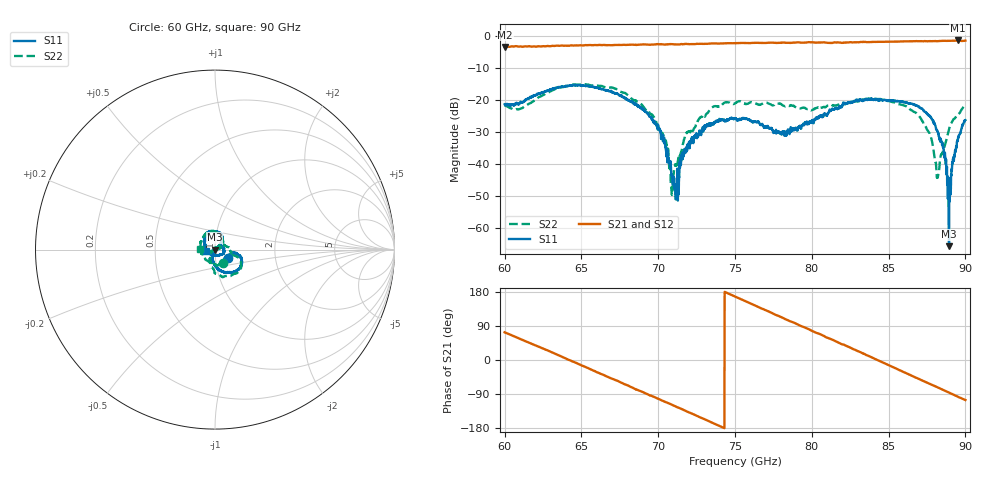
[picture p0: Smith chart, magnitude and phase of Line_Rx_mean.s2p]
!Keysight Technologies,N5242A,MY56023178,A.10.60.03
!Date: Tuesday, August 25, 2020 09:26:59
!Correction: S11(Full 2 Port(1,2))
!S21(Full 2 Port(1,2))
!S12(Full 2 Port(1,2))
!S22(Full 2 Port(1,2))
!S2P File: Measurements: S11, S21, S12, S22:
# Hz S  dB  R 50
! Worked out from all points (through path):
!   2001 points, 60 GHz to 90 GHz, reference 50 ohm
!   highest |S21| = -1.27 dB at 89.49 GHz (marker M1); lowest = -3.3 dB at 60.03 GHz (marker M2)
!   lowest |S11| = -65.5 dB at 88.94 GHz (marker M3), VSWR 1.00, Z = 50 + j0.043 ohm
!   |S11| at or under -10 dB: start of sweep to end of sweep
!   |S22| runs from -49.5 to -14.9 dB; largest |S21 - S12| = 0.041
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6e10  -21.21 -33.8  -3.28 73.1  -3.26 71.8  -21.54 -59.8
6.003e10  -21.37 -33.5  -3.28 72.5  -3.25 71.6  -21.58 -59.3
6.501e10  -15.46 -39.9  -2.81 -14.3  -2.84 -14.7  -15.04 -43.8
6.7875e10  -19.34 -82.0  -2.66 -64.7  -2.71 -65.5  -17.79 -91.3
7.0005e10  -28.16 -110.6  -2.46 -102.4  -2.57 -103.7  -28.41 -126.6
7.053e10  -34.72 -118.1  -2.52 -111.8  -2.54 -112.6  -33.30 -147.2
7.086e10  -43.31 -107.3  -2.41 -117.5  -2.45 -118.9  -47.81 165.8
7.119e10  -48.03 -3.3  -2.49 -123.7  -2.45 -124.9  -40.11 86.5
7.1535e10  -36.83 40.2  -2.38 -129.4  -2.45 -130.6  -35.35 47.4
7.2285e10  -33.35 36.8  -2.43 -143.4  -2.37 -143.9  -29.27 37.4
7.5e10  -25.76 -15.3  -2.14 167.5  -2.15 167.3  -20.94 -20.7
7.752e10  -30.08 -75.5  -1.97 121.6  -1.99 120.3  -21.47 -73.9
8.001e10  -26.13 -174.8  -1.84 76.9  -1.90 75.4  -23.04 -151.9
8.274e10  -20.17 123.2  -1.82 28.0  -1.79 26.5  -20.41 134.1
8.5005e10  -20.01 85.6  -1.66 -13.8  -1.55 -15.0  -20.18 84.7
8.6895e10  -21.75 60.1  -1.51 -48.6  -1.48 -50.0  -24.38 41.3
8.7855e10  -26.05 47.9  -1.52 -66.3  -1.45 -67.7  -33.46 7.5
8.82e10  -29.72 41.9  -1.49 -72.2  -1.42 -73.6  -44.08 -63.3
8.8605e10  -36.54 32.9  -1.40 -79.7  -1.36 -81.5  -35.07 -131.3
8.8935e10  -65.53 125.6  -1.39 -85.8  -1.33 -87.5  -28.92 -160.3
8.949e10  -32.43 -155.5  -1.27 -96.5  -1.26 -98.6  -24.47 -171.8
9e10  -26.16 -172.9  -1.33 -105.5  -1.31 -107.6  -21.46 178.5
